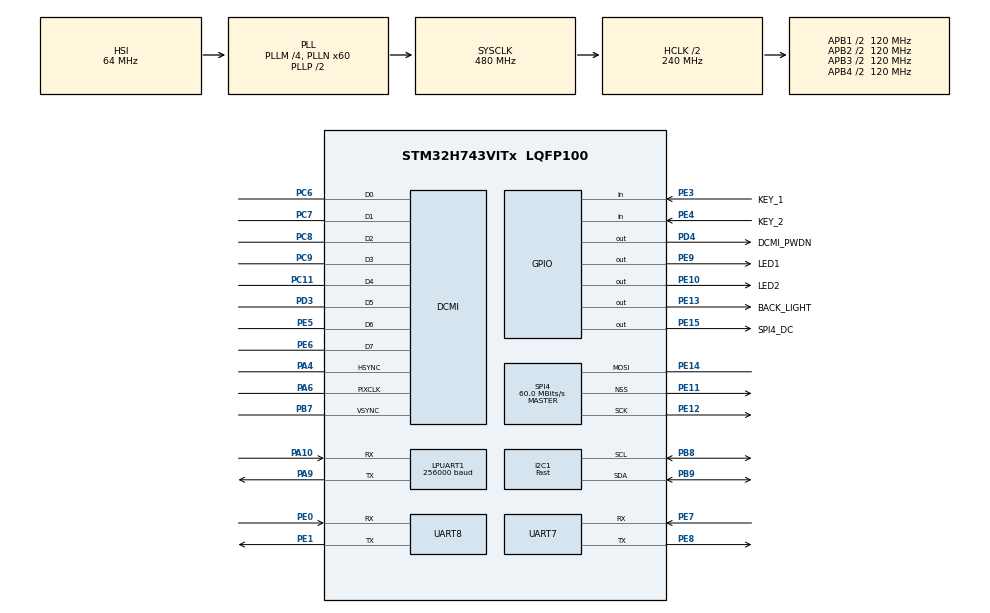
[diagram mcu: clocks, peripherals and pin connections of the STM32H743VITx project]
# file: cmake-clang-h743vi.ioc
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Bdma.LPUART1_RX.0.Direction=DMA_PERIPH_TO_MEMORY
Bdma.LPUART1_RX.0.EventEnable=DISABLE
Bdma.LPUART1_RX.0.Instance=BDMA_Channel0
Bdma.LPUART1_RX.0.MemDataAlignment=DMA_MDATAALIGN_BYTE
Bdma.LPUART1_RX.0.MemInc=DMA_MINC_ENABLE
Bdma.LPUART1_RX.0.Mode=DMA_CIRCULAR
Bdma.LPUART1_RX.0.PeriphDataAlignment=DMA_PDATAALIGN_BYTE
Bdma.LPUART1_RX.0.PeriphInc=DMA_PINC_DISABLE
Bdma.LPUART1_RX.0.Polarity=HAL_DMAMUX_REQ_GEN_RISING
Bdma.LPUART1_RX.0.Priority=DMA_PRIORITY_LOW
Bdma.LPUART1_RX.0.RequestNumber=1
Bdma.LPUART1_RX.0.SignalID=NONE
Bdma.LPUART1_RX.0.SyncEnable=DISABLE
Bdma.LPUART1_RX.0.SyncPolarity=HAL_DMAMUX_SYNC_NO_EVENT
Bdma.LPUART1_RX.0.SyncRequestNumber=1
Bdma.LPUART1_RX.0.SyncSignalID=NONE
Bdma.Request0=LPUART1_RX
Bdma.RequestsNb=1
CORTEX_M7.AccessPermission_S-Cortex_Memory_Protection_Unit_Region1_Settings_S=MPU_REGION_FULL_ACCESS
CORTEX_M7.AccessPermission_S-Cortex_Memory_Protection_Unit_Region2_Settings_S=MPU_REGION_FULL_ACCESS
CORTEX_M7.BaseAddress_S-Cortex_Memory_Protection_Unit_Region1_Settings_S=0x24000000
CORTEX_M7.BaseAddress_S-Cortex_Memory_Protection_Unit_Region2_Settings_S=0x30000000
CORTEX_M7.Enable_S-Cortex_Memory_Protection_Unit_Region1_Settings_S=MPU_REGION_ENABLE
CORTEX_M7.Enable_S-Cortex_Memory_Protection_Unit_Region2_Settings_S=MPU_REGION_ENABLE
CORTEX_M7.IsBufferable_S-Cortex_Memory_Protection_Unit_Region1_Settings_S=MPU_ACCESS_BUFFERABLE
CORTEX_M7.IsBufferable_S-Cortex_Memory_Protection_Unit_Region2_Settings_S=MPU_ACCESS_BUFFERABLE
CORTEX_M7.IsCacheable_S-Cortex_Memory_Protection_Unit_Region1_Settings_S=MPU_ACCESS_CACHEABLE
CORTEX_M7.IsCacheable_S-Cortex_Memory_Protection_Unit_Region2_Settings_S=MPU_ACCESS_CACHEABLE
CORTEX_M7.IsShareable_S-Cortex_Memory_Protection_Unit_Region1_Settings_S=MPU_ACCESS_SHAREABLE
CORTEX_M7.IsShareable_S-Cortex_Memory_Protection_Unit_Region2_Settings_S=MPU_ACCESS_SHAREABLE
CORTEX_M7.Size_S-Cortex_Memory_Protection_Unit_Region1_Settings_S=MPU_REGION_SIZE_512KB
CORTEX_M7.Size_S-Cortex_Memory_Protection_Unit_Region2_Settings_S=MPU_REGION_SIZE_512KB
CORTEX_M7.TypeExtField_S-Cortex_Memory_Protection_Unit_Region1_Settings_S=MPU_TEX_LEVEL1
CORTEX_M7.TypeExtField_S-Cortex_Memory_Protection_Unit_Region2_Settings_S=MPU_TEX_LEVEL1
CORTEX_M7.default_mode_Activation=1
DCMI.JPEGMode=DCMI_JPEG_DISABLE
DCMI.PCKPolarity=DCMI_PCKPOLARITY_RISING
Dma.DCMI.1.Direction=DMA_PERIPH_TO_MEMORY
Dma.DCMI.1.EventEnable=DISABLE
Dma.DCMI.1.FIFOMode=DMA_FIFOMODE_ENABLE
Dma.DCMI.1.FIFOThreshold=DMA_FIFO_THRESHOLD_FULL
Dma.DCMI.1.Instance=DMA2_Stream7
Dma.DCMI.1.MemBurst=DMA_MBURST_SINGLE
Dma.DCMI.1.MemDataAlignment=DMA_MDATAALIGN_WORD
Dma.DCMI.1.MemInc=DMA_MINC_ENABLE
Dma.DCMI.1.Mode=DMA_CIRCULAR
Dma.DCMI.1.PeriphBurst=DMA_PBURST_SINGLE
Dma.DCMI.1.PeriphDataAlignment=DMA_PDATAALIGN_WORD
Dma.DCMI.1.PeriphInc=DMA_PINC_DISABLE
Dma.DCMI.1.Polarity=HAL_DMAMUX_REQ_GEN_RISING
Dma.DCMI.1.Priority=DMA_PRIORITY_LOW
Dma.DCMI.1.RequestNumber=1
Dma.DCMI.1.SignalID=NONE
Dma.DCMI.1.SyncEnable=DISABLE
Dma.DCMI.1.SyncPolarity=HAL_DMAMUX_SYNC_NO_EVENT
Dma.DCMI.1.SyncRequestNumber=1
Dma.DCMI.1.SyncSignalID=NONE
Dma.Request0=SPI4_TX
Dma.Request1=DCMI
Dma.Request2=UART7_RX
Dma.Request3=UART8_RX
Dma.SPI4_TX.0.Direction=DMA_MEMORY_TO_PERIPH
Dma.SPI4_TX.0.EventEnable=DISABLE
Dma.SPI4_TX.0.FIFOMode=DMA_FIFOMODE_DISABLE
Dma.SPI4_TX.0.Instance=DMA1_Stream0
Dma.SPI4_TX.0.MemDataAlignment=DMA_MDATAALIGN_BYTE
Dma.SPI4_TX.0.MemInc=DMA_MINC_ENABLE
Dma.SPI4_TX.0.Mode=DMA_NORMAL
Dma.SPI4_TX.0.PeriphDataAlignment=DMA_PDATAALIGN_BYTE
Dma.SPI4_TX.0.PeriphInc=DMA_PINC_DISABLE
Dma.SPI4_TX.0.Polarity=HAL_DMAMUX_REQ_GEN_RISING
Dma.SPI4_TX.0.Priority=DMA_PRIORITY_LOW
Dma.SPI4_TX.0.RequestNumber=1
Dma.SPI4_TX.0.SignalID=NONE
Dma.SPI4_TX.0.SyncEnable=DISABLE
Dma.SPI4_TX.0.SyncPolarity=HAL_DMAMUX_SYNC_NO_EVENT
Dma.SPI4_TX.0.SyncRequestNumber=1
Dma.SPI4_TX.0.SyncSignalID=NONE
Dma.UART7_RX.2.Direction=DMA_PERIPH_TO_MEMORY
Dma.UART7_RX.2.EventEnable=DISABLE
Dma.UART7_RX.2.FIFOMode=DMA_FIFOMODE_DISABLE
Dma.UART7_RX.2.Instance=DMA1_Stream1
Dma.UART7_RX.2.MemDataAlignment=DMA_MDATAALIGN_BYTE
Dma.UART7_RX.2.MemInc=DMA_MINC_ENABLE
Dma.UART7_RX.2.Mode=DMA_CIRCULAR
Dma.UART7_RX.2.PeriphDataAlignment=DMA_PDATAALIGN_BYTE
Dma.UART7_RX.2.PeriphInc=DMA_PINC_DISABLE
Dma.UART7_RX.2.Polarity=HAL_DMAMUX_REQ_GEN_RISING
Dma.UART7_RX.2.Priority=DMA_PRIORITY_LOW
Dma.UART7_RX.2.RequestNumber=1
Dma.UART7_RX.2.SignalID=NONE
Dma.UART7_RX.2.SyncEnable=DISABLE
Dma.UART7_RX.2.SyncPolarity=HAL_DMAMUX_SYNC_NO_EVENT
Dma.UART7_RX.2.SyncRequestNumber=1
Dma.UART7_RX.2.SyncSignalID=NONE
Dma.UART8_RX.3.Direction=DMA_PERIPH_TO_MEMORY
Dma.UART8_RX.3.EventEnable=DISABLE
Dma.UART8_RX.3.FIFOMode=DMA_FIFOMODE_DISABLE
Dma.UART8_RX.3.Instance=DMA1_Stream2
Dma.UART8_RX.3.MemDataAlignment=DMA_MDATAALIGN_BYTE
Dma.UART8_RX.3.MemInc=DMA_MINC_ENABLE
Dma.UART8_RX.3.Mode=DMA_CIRCULAR
Dma.UART8_RX.3.PeriphDataAlignment=DMA_PDATAALIGN_BYTE
Dma.UART8_RX.3.PeriphInc=DMA_PINC_DISABLE
Dma.UART8_RX.3.Polarity=HAL_DMAMUX_REQ_GEN_RISING
Dma.UART8_RX.3.Priority=DMA_PRIORITY_LOW
Dma.UART8_RX.3.RequestNumber=1
Dma.UART8_RX.3.SignalID=NONE
Dma.UART8_RX.3.SyncEnable=DISABLE
Dma.UART8_RX.3.SyncPolarity=HAL_DMAMUX_SYNC_NO_EVENT
Dma.UART8_RX.3.SyncRequestNumber=1
Dma.UART8_RX.3.SyncSignalID=NONE
FREERTOS.Tasks01=defaultTask,24,512,StartDefaultTask,Default,NULL,Dynamic,NULL,NULL
FREERTOS.configENABLE_FPU=1
FREERTOS.configHEAP_CLEAR_MEMORY_ON_FREE=0
FREERTOS.configTOTAL_HEAP_SIZE=131072
I2C1.I2C_Fall_Time=10
I2C1.I2C_Rise_Time=100
I2C1.I2C_Speed_Mode=I2C_Fast
I2C1.Timing=0x4040171D
LPUART1.BaudRate=256000
Mcu.Family=STM32H7
Mcu.Name=STM32H743VITx
Mcu.Package=LQFP100
NVIC.BDMA_Channel0_IRQn=true\:5\:0\:false\:false\:true\:true\:false\:true\:true
NVIC.DCMI_IRQn=true\:5\:0\:false\:false\:true\:true\:true\:true\:true
NVIC.DMA1_Stream0_IRQn=true\:5\:0\:false\:false\:true\:true\:false\:true\:true
NVIC.DMA1_Stream1_IRQn=true\:5\:0\:false\:false\:true\:true\:false\:true\:true
NVIC.DMA1_Stream2_IRQn=true\:5\:0\:false\:false\:true\:true\:false\:true\:true
NVIC.DMA2_Stream7_IRQn=true\:5\:0\:false\:false\:true\:false\:false\:true\:true
NVIC.LPUART1_IRQn=true\:5\:0\:false\:false\:true\:true\:true\:true\:true
NVIC.PriorityGroup=NVIC_PRIORITYGROUP_4
NVIC.SPI4_IRQn=true\:5\:0\:false\:false\:true\:true\:false\:true\:true
NVIC.TIM17_IRQn=true\:15\:0\:false\:false\:true\:false\:false\:true\:true
NVIC.TimeBase=TIM17_IRQn
NVIC.TimeBaseIP=TIM17
NVIC.UART7_IRQn=true\:5\:0\:false\:false\:true\:true\:true\:true\:true
NVIC.UART8_IRQn=true\:5\:0\:false\:false\:true\:true\:true\:true\:true
PA10.GPIO_PuPd=GPIO_PULLUP
PA10.Mode=Asynchronous
PA10.Signal=LPUART1_RX
PA13\ (JTMS/SWDIO).Mode=Serial_Wire
PA13\ (JTMS/SWDIO).Signal=DEBUG_JTMS-SWDIO
PA14\ (JTCK/SWCLK).Mode=Serial_Wire
PA14\ (JTCK/SWCLK).Signal=DEBUG_JTCK-SWCLK
PA4.GPIO_Speed=GPIO_SPEED_FREQ_VERY_HIGH
PA4.Mode=Slave_8_bits_External_Synchro
PA4.Signal=DCMI_HSYNC
PA6.GPIO_Speed=GPIO_SPEED_FREQ_VERY_HIGH
PA6.Mode=Slave_8_bits_External_Synchro
PA6.Signal=DCMI_PIXCLK
PA9.Mode=Asynchronous
PA9.Signal=LPUART1_TX
PB7.GPIO_Speed=GPIO_SPEED_FREQ_VERY_HIGH
PB7.Mode=Slave_8_bits_External_Synchro
PB7.Signal=DCMI_VSYNC
PB8.Mode=I2C
PB8.Signal=I2C1_SCL
PB9.Mode=I2C
PB9.Signal=I2C1_SDA
PC11.GPIO_Speed=GPIO_SPEED_FREQ_VERY_HIGH
PC11.Mode=Slave_8_bits_External_Synchro
PC11.Signal=DCMI_D4
PC14-OSC32_IN\ (OSC32_IN).Mode=LSE-External-Oscillator
PC14-OSC32_IN\ (OSC32_IN).Signal=RCC_OSC32_IN
PC15-OSC32_OUT\ (OSC32_OUT).Mode=LSE-External-Oscillator
PC15-OSC32_OUT\ (OSC32_OUT).Signal=RCC_OSC32_OUT
PC6.GPIO_Speed=GPIO_SPEED_FREQ_VERY_HIGH
PC6.Mode=Slave_8_bits_External_Synchro
PC6.Signal=DCMI_D0
PC7.GPIO_Speed=GPIO_SPEED_FREQ_VERY_HIGH
PC7.Mode=Slave_8_bits_External_Synchro
PC7.Signal=DCMI_D1
PC8.GPIO_Speed=GPIO_SPEED_FREQ_VERY_HIGH
PC8.Mode=Slave_8_bits_External_Synchro
PC8.Signal=DCMI_D2
PC9.GPIO_Speed=GPIO_SPEED_FREQ_VERY_HIGH
PC9.Mode=Slave_8_bits_External_Synchro
PC9.Signal=DCMI_D3
PD3.GPIO_Speed=GPIO_SPEED_FREQ_VERY_HIGH
PD3.Mode=Slave_8_bits_External_Synchro
PD3.Signal=DCMI_D5
PD4.GPIO_Label=DCMI_PWDN
PD4.Signal=GPIO_Output
PE0.Mode=Asynchronous
PE0.Signal=UART8_RX
PE1.Mode=Asynchronous
PE1.Signal=UART8_TX
PE10.GPIO_Label=LED2
PE10.Signal=GPIO_Output
PE11.GPIO_Speed=GPIO_SPEED_FREQ_MEDIUM
PE11.Mode=NSS_Signal_Hard_Output
PE11.Signal=SPI4_NSS
PE12.GPIO_Speed=GPIO_SPEED_FREQ_MEDIUM
PE12.Mode=Simplex_Bidirectional_Master
PE12.Signal=SPI4_SCK
PE13.GPIO_Label=BACK_LIGHT
PE13.Signal=GPIO_Output
PE14.GPIO_Speed=GPIO_SPEED_FREQ_MEDIUM
PE14.Mode=Simplex_Bidirectional_Master
PE14.Signal=SPI4_MOSI
PE15.GPIO_Label=SPI4_DC
PE15.Signal=GPIO_Output
PE3.GPIO_Label=KEY_1
PE3.GPIO_PuPd=GPIO_PULLUP
PE3.Signal=GPIO_Input
PE4.GPIO_Label=KEY_2
PE4.GPIO_PuPd=GPIO_PULLUP
PE4.Signal=GPIO_Input
PE5.GPIO_Speed=GPIO_SPEED_FREQ_VERY_HIGH
PE5.Mode=Slave_8_bits_External_Synchro
PE5.Signal=DCMI_D6
PE6.GPIO_Speed=GPIO_SPEED_FREQ_VERY_HIGH
PE6.Mode=Slave_8_bits_External_Synchro
PE6.Signal=DCMI_D7
PE7.Mode=Asynchronous
PE7.Signal=UART7_RX
PE8.Mode=Asynchronous
PE8.Signal=UART7_TX
PE9.GPIO_Label=LED1
PE9.Signal=GPIO_Output
PH0-OSC_IN\ (PH0).Mode=HSE-External-Oscillator
PH0-OSC_IN\ (PH0).Signal=RCC_OSC_IN
PH1-OSC_OUT\ (PH1).Mode=HSE-External-Oscillator
PH1-OSC_OUT\ (PH1).Signal=RCC_OSC_OUT
ProjectManager.HeapSize=0x200
ProjectManager.StackSize=0x1000
ProjectManager.TargetToolchain=CMake
RCC.ADCFreq_Value=129000000
RCC.APB1Freq_Value=120000000
RCC.APB2Freq_Value=120000000
RCC.APB3Freq_Value=120000000
RCC.APB4Freq_Value=120000000
RCC.CortexFreq_Value=480000000
RCC.D1PPRE=RCC_APB3_DIV2
RCC.D2PPRE1=RCC_APB1_DIV2
RCC.D2PPRE2=RCC_APB2_DIV2
RCC.D3PPRE=RCC_APB4_DIV2
RCC.DIVM1=4
RCC.DIVN1=60
RCC.HCLKFreq_Value=240000000
RCC.HPRE=RCC_HCLK_DIV2
RCC.PLL2FRACN=0
RCC.PLL3FRACN=0
RCC.PLLFRACN=0
RCC.SYSCLKFreq_VALUE=480000000
RCC.SYSCLKSource=RCC_SYSCLKSOURCE_PLLCLK
RCC.USBFreq_Value=480000000
SPI4.CLKPhase=SPI_PHASE_2EDGE
SPI4.CLKPolarity=SPI_POLARITY_HIGH
SPI4.CalculateBaudRate=60.0 MBits/s
SPI4.DataSize=SPI_DATASIZE_8BIT
SPI4.Direction=SPI_DIRECTION_1LINE
SPI4.Mode=SPI_MODE_MASTER
SPI4.NSSPMode=SPI_NSS_PULSE_DISABLE
SPI4.VirtualNSS=VM_NSSHARD
SPI4.VirtualType=VM_MASTER
VP_FREERTOS_VS_CMSIS_V2.Mode=CMSIS_V2
VP_MEMORYMAP_VS_MEMORYMAP.Mode=CurAppReg
VP_SYS_VS_tim17.Mode=TIM17
board=custom

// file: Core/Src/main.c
/* USER CODE BEGIN Header */
/**
 ******************************************************************************
 * @file           : main.c
 * @brief          : Main program body
 ******************************************************************************
 * @attention
 *
 * Copyright (c) 2026 STMicroelectronics.
 * All rights reserved.
 *
 * This software is licensed under terms that can be found in the LICENSE file
 * in the root directory of this software component.
 * If no LICENSE file comes with this software, it is provided AS-IS.
 *
 ******************************************************************************
 */
/* USER CODE END Header */
#include "main.h"
#include "FreeRTOS.h"
#include "cmsis_os2.h"
#include "bdma.h"
#include "dcmi.h"
#include "dma.h"
#include "i2c.h"
#include "usart.h"
#include "spi.h"
#include "gpio.h"

/* USER CODE BEGIN Includes */
// #define MINIMP3_NO_SIMD
// #define MINIMP3_IMPLEMENTATION
// #include "minimp3.h"
/* USER CODE END Includes */

void SystemClock_Config(void);
static void MPU_Config(void);
void MX_FREERTOS_Init(void);

int main(void)
{

  /* USER CODE BEGIN 1 */
  SCB_EnableICache();
  SCB_EnableDCache();
  /* USER CODE END 1 */

  /* MPU Configuration--------------------------------------------------------*/
  MPU_Config();

  /* MCU Configuration--------------------------------------------------------*/

  /* Reset of all peripherals, Initializes the Flash interface and the Systick. */
  HAL_Init();

  /* USER CODE BEGIN Init */
//  SCB->CPACR |= ((3UL << 10*2) | (3UL << 11*2));  // 使能 CP10 和 CP11 (FPU)
  /* USER CODE END Init */

  /* Configure the system clock */
  SystemClock_Config();

  /* Initialize all configured peripherals */
  MX_GPIO_Init();
  MX_DMA_Init();
  MX_BDMA_Init();
  MX_LPUART1_UART_Init();
  MX_SPI4_Init();
  MX_I2C1_Init();
  MX_DCMI_Init();
  MX_UART7_Init();
  MX_UART8_Init();

  /* Init scheduler */
  osKernelInitialize();  /* Call init function for freertos objects (in cmsis_os2.c) */
  MX_FREERTOS_Init();

  /* Start scheduler */
  osKernelStart();

  /* We should never get here as control is now taken by the scheduler */

  /* Infinite loop */
    while(1)
    {

    }
}

void SystemClock_Config(void)
{
  RCC_OscInitTypeDef RCC_OscInitStruct = {0};
  RCC_ClkInitTypeDef RCC_ClkInitStruct = {0};

  /** Supply configuration update enable
  */
  HAL_PWREx_ConfigSupply(PWR_LDO_SUPPLY);

  /** Configure the main internal regulator output voltage
  */
  __HAL_PWR_VOLTAGESCALING_CONFIG(PWR_REGULATOR_VOLTAGE_SCALE0);

  while(!__HAL_PWR_GET_FLAG(PWR_FLAG_VOSRDY)) {}

  /** Initializes the RCC Oscillators according to the specified parameters
  * in the RCC_OscInitTypeDef structure.
  */
  RCC_OscInitStruct.OscillatorType = RCC_OSCILLATORTYPE_HSI;
  RCC_OscInitStruct.HSIState = RCC_HSI_DIV1;
  RCC_OscInitStruct.HSICalibrationValue = RCC_HSICALIBRATION_DEFAULT;
  RCC_OscInitStruct.PLL.PLLState = RCC_PLL_ON;
  RCC_OscInitStruct.PLL.PLLSource = RCC_PLLSOURCE_HSI;
  RCC_OscInitStruct.PLL.PLLM = 4;
  RCC_OscInitStruct.PLL.PLLN = 60;
  RCC_OscInitStruct.PLL.PLLP = 2;
  RCC_OscInitStruct.PLL.PLLQ = 2;
  RCC_OscInitStruct.PLL.PLLR = 2;
  RCC_OscInitStruct.PLL.PLLRGE = RCC_PLL1VCIRANGE_3;
  RCC_OscInitStruct.PLL.PLLVCOSEL = RCC_PLL1VCOWIDE;
  RCC_OscInitStruct.PLL.PLLFRACN = 0;
  if (HAL_RCC_OscConfig(&RCC_OscInitStruct) != HAL_OK)
  {
    Error_Handler();
  }

  /** Initializes the CPU, AHB and APB buses clocks
  */
  RCC_ClkInitStruct.ClockType = RCC_CLOCKTYPE_HCLK|RCC_CLOCKTYPE_SYSCLK
                              |RCC_CLOCKTYPE_PCLK1|RCC_CLOCKTYPE_PCLK2
                              |RCC_CLOCKTYPE_D3PCLK1|RCC_CLOCKTYPE_D1PCLK1;
  RCC_ClkInitStruct.SYSCLKSource = RCC_SYSCLKSOURCE_PLLCLK;
  RCC_ClkInitStruct.SYSCLKDivider = RCC_SYSCLK_DIV1;
  RCC_ClkInitStruct.AHBCLKDivider = RCC_HCLK_DIV2;
  RCC_ClkInitStruct.APB3CLKDivider = RCC_APB3_DIV2;
  RCC_ClkInitStruct.APB1CLKDivider = RCC_APB1_DIV2;
  RCC_ClkInitStruct.APB2CLKDivider = RCC_APB2_DIV2;
  RCC_ClkInitStruct.APB4CLKDivider = RCC_APB4_DIV2;

  if (HAL_RCC_ClockConfig(&RCC_ClkInitStruct, FLASH_LATENCY_4) != HAL_OK)
  {
    Error_Handler();
  }
}

 /* MPU Configuration */

void MPU_Config(void)
{
  MPU_Region_InitTypeDef MPU_InitStruct = {0};

  /* Disables the MPU */
  HAL_MPU_Disable();

  /** Initializes and configures the Region and the memory to be protected
  */
  MPU_InitStruct.Enable = MPU_REGION_ENABLE;
  MPU_InitStruct.Number = MPU_REGION_NUMBER0;
  MPU_InitStruct.BaseAddress = 0x0;
  MPU_InitStruct.Size = MPU_REGION_SIZE_4GB;
  MPU_InitStruct.SubRegionDisable = 0x87;
  MPU_InitStruct.TypeExtField = MPU_TEX_LEVEL0;
  MPU_InitStruct.AccessPermission = MPU_REGION_NO_ACCESS;
  MPU_InitStruct.DisableExec = MPU_INSTRUCTION_ACCESS_DISABLE;
  MPU_InitStruct.IsShareable = MPU_ACCESS_SHAREABLE;
  MPU_InitStruct.IsCacheable = MPU_ACCESS_NOT_CACHEABLE;
  MPU_InitStruct.IsBufferable = MPU_ACCESS_NOT_BUFFERABLE;

  HAL_MPU_ConfigRegion(&MPU_InitStruct);

  /** Initializes and configures the Region and the memory to be protected
  */
  MPU_InitStruct.Number = MPU_REGION_NUMBER1;
  MPU_InitStruct.BaseAddress = 0x24000000;
  MPU_InitStruct.Size = MPU_REGION_SIZE_512KB;
  MPU_InitStruct.SubRegionDisable = 0x0;
  MPU_InitStruct.TypeExtField = MPU_TEX_LEVEL1;
  MPU_InitStruct.AccessPermission = MPU_REGION_FULL_ACCESS;
  MPU_InitStruct.DisableExec = MPU_INSTRUCTION_ACCESS_ENABLE;
  MPU_InitStruct.IsCacheable = MPU_ACCESS_CACHEABLE;
  MPU_InitStruct.IsBufferable = MPU_ACCESS_BUFFERABLE;

  HAL_MPU_ConfigRegion(&MPU_InitStruct);

  /** Initializes and configures the Region and the memory to be protected
  */
  MPU_InitStruct.Number = MPU_REGION_NUMBER2;
  MPU_InitStruct.BaseAddress = 0x30000000;

  HAL_MPU_ConfigRegion(&MPU_InitStruct);
  /* Enables the MPU */
  HAL_MPU_Enable(MPU_PRIVILEGED_DEFAULT);

}

void HAL_TIM_PeriodElapsedCallback(TIM_HandleTypeDef *htim)
{
  if (htim->Instance == TIM17)
  {
    HAL_IncTick();
  }
}

void Error_Handler(void)
{
  /* USER CODE BEGIN Error_Handler_Debug */
    /* User can add his own implementation to report the HAL error return state
     */
    __disable_irq();
    while(1)
    {
    }
  /* USER CODE END Error_Handler_Debug */
}
#ifdef USE_FULL_ASSERT
/**
  * @brief  Reports the name of the source file and the source line number
  *         where the assert_param error has occurred.
  * @param  file: pointer to the source file name
  * @param  line: assert_param error line source number
  * @retval None
  */
void assert_failed(uint8_t *file, uint32_t line)
{
  /* USER CODE BEGIN 6 */
    /* User can add his own implementation to report the file name and line
       number, ex: printf("Wrong parameters value: file %s on line %d\r\n",
       file, line) */
  /* USER CODE END 6 */
}
#endif /* USE_FULL_ASSERT */

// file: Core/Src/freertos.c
/* USER CODE BEGIN Header */
/**
 ******************************************************************************
 * File Name          : freertos.c
 * Description        : Code for freertos applications
 ******************************************************************************
 * @attention
 *
 * Copyright (c) 2026 STMicroelectronics.
 * All rights reserved.
 *
 * This software is licensed under terms that can be found in the LICENSE file
 * in the root directory of this software component.
 * If no LICENSE file comes with this software, it is provided AS-IS.
 *
 ******************************************************************************
 */
/* USER CODE END Header */

#include "FreeRTOS.h"
#include "task.h"
#include "main.h"
#include "FreeRTOS.h"
#include "cmsis_os2.h"

/* USER CODE BEGIN Includes */
#include <stdint.h>
#include "shell_port.h"
#include "kfifo.h"              /* kfifo lib header file. */
#include "plat_sys.h"           /* platform time source. */
#include "service_osd.h"        /* service_osd header file. */
#include "service_key.h"        /* key gesture service (single/double/long) */
#include "service_uart_test.h"  /* for DMA+IDLE UART smoke test */
#include "service_rs485_test.h" /* UART7 master/UART8 slave test */
#include "plat_log.h"           /* platform log header file. */
#include "app_main_task.h"      /* default application task */
// #define MINIMP3_NO_SIMD
#define MINIMP3_FLOAT_OUTPUT
#define MINIMP3_IMPLEMENTATION
#include "minimp3.h"
#include "log.h"
/* USER CODE END Includes */

/* USER CODE BEGIN Variables */
/* FreeRTOS heap placed in AXI SRAM (512KB) instead of DTCMRAM (128KB) */
__attribute__((section(".ram_dma_buffers"),
               aligned(8))) uint8_t ucHeap[configTOTAL_HEAP_SIZE];
/* USER CODE END Variables */
/* Definitions for defaultTask */
osThreadId_t         defaultTaskHandle;
const osThreadAttr_t defaultTask_attributes = {
    .name       = "defaultTask",
    .stack_size = 512 * 4,
    .priority   = (osPriority_t)osPriorityNormal,
};

/* USER CODE BEGIN FunctionPrototypes */
uint8_t     k_fifo_buffer[16];
kfifo_t     g_kfifo;
static void BatteryTask(void *argument);
static void UartEchoTestTask(void *argument);
static void Rs485TestTask(void *argument);
static void KeyTestTask(void *argument);
/* USER CODE END FunctionPrototypes */

void StartDefaultTask(void *argument);

void MX_FREERTOS_Init(void); /* (MISRA C 2004 rule 8.1) */

void MX_FREERTOS_Init(void)
{
    /* USER CODE BEGIN Init */
    platform_err_t time_init_status = plat_time_init();
    if(PLATFORM_ERR_OK == plat_log_init())
    {
        plat_log_i("SYS", "log init OK (build %s %s)", __DATE__, __TIME__);
        if(PLATFORM_ERR_OK != time_init_status)
        {
            plat_log_e("SYS", "DWT time init failed: %d",
                       (int)time_init_status);
        }
    }
    /* USER CODE END Init */

    /* Create the thread(s) */
    /* creation of defaultTask */
    defaultTaskHandle = osThreadNew(StartDefaultTask, NULL,
                                    &defaultTask_attributes);

    /* USER CODE BEGIN RTOS_THREADS */
    // userShellInit();

    // static const osThreadAttr_t battery_task_attr = {
    //     .name       = "batteryTask",
    //     .stack_size = 512U,
    //     .priority   = (osPriority_t)osPriorityBelowNormal,
    // };
    // osThreadNew(BatteryTask, NULL, &battery_task_attr);

    static const osThreadAttr_t uart_test_task_attr = {
        .name       = "uartTestTask",
        .stack_size = 512 * 4U,
        .priority   = (osPriority_t)osPriorityBelowNormal,
    };
    osThreadNew(UartEchoTestTask, NULL, &uart_test_task_attr);

    // static const osThreadAttr_t rs485_test_task_attr = {
    //     .name       = "rs485TestTask",
    //     .stack_size = 512U * 4U,
    //     .priority   = (osPriority_t)osPriorityBelowNormal,
    // };
    // (void)osThreadNew(Rs485TestTask, NULL, &rs485_test_task_attr);

    // static const osThreadAttr_t key_test_task_attr = {
    //     .name       = "keyTestTask",
    //     .stack_size = 512U * 2U,
    //     .priority   = (osPriority_t)osPriorityNormal,
    // };
    // (void)osThreadNew(KeyTestTask, NULL, &key_test_task_attr);
    /* USER CODE END RTOS_THREADS */

}

void StartDefaultTask(void *argument)
{
    /* USER CODE BEGIN StartDefaultTask */
    app_main_task(argument);
    /* USER CODE END StartDefaultTask */
}

/* USER CODE BEGIN Application */
/**
 * @brief  Simulates battery drain: decreases level by 1% every 2 seconds.
 *         Calls service_osd_set_battery() — no display logic here.
 */
static void BatteryTask(void *argument)
{
    ((void)argument);
    uint8_t bat = 100U;
    for(;;)
    {
        vTaskDelay(pdMS_TO_TICKS(5000U));
        bat = (bat > 0U) ? (bat - 1U) : 100U;
        service_osd_set_battery(bat);
    }
}
static TaskHandle_t s_uart_task_handle;
static TaskHandle_t s_rs485_task_handle;

/* service_uart_test's RTOS wake mechanism: forwards its ISR-context wake
 * request to a task notify. Kept here (not in service_uart_test.c) so that
 * module stays free of RTOS types and is portable to bare metal. */
static void uart_wake_isr(void)
{
    BaseType_t xHigherPriorityTaskWoken = pdFALSE;
    vTaskNotifyGiveFromISR(s_uart_task_handle, &xHigherPriorityTaskWoken);
    portYIELD_FROM_ISR(xHigherPriorityTaskWoken);
}

/* service_rs485_test's RTOS wake mechanism.  No parsing or blocking work is
 * performed from this ISR callback. */
static void rs485_wake_isr(void)
{
    BaseType_t   higher_priority_task_woken = pdFALSE;
    TaskHandle_t task_handle                = s_rs485_task_handle;
    if(NULL != task_handle)
    {
        vTaskNotifyGiveFromISR(task_handle, &higher_priority_task_woken);
        portYIELD_FROM_ISR(higher_priority_task_woken);
    }
}

/* Mirror RS485 service events to the LetterShell COM port.  This callback is
 * called by the service only from Rs485TestTask context; the service itself
 * remains independent of LetterShell and HAL. */
static void rs485_event_log(const service_rs485_test_event_t *p_event)
{
    if(NULL == p_event)
    {
        return;
    }

    const char *endpoint = (SERVICE_RS485_TEST_ENDPOINT_MASTER ==
                            p_event->endpoint)
                               ? "master"
                               : "slave";
    switch(p_event->event)
    {
        case SERVICE_RS485_TEST_EVENT_INIT_OK:
            logInfo("modbus RTU 03/06 init ok");
            break;
        case SERVICE_RS485_TEST_EVENT_INIT_ERROR:
            logError("modbus %s init error status=%u", endpoint,
                     (unsigned int)p_event->status);
            break;
        case SERVICE_RS485_TEST_EVENT_MASTER_WRITE_REQUEST:
            logInfo("modbus master FC06 write reg=0x%04X value=%u",
                    (unsigned int)p_event->register_address,
                    (unsigned int)p_event->value);
            break;
        case SERVICE_RS485_TEST_EVENT_SLAVE_WRITE_APPLIED:
            logInfo("modbus slave FC06 applied reg=0x%04X value=%u",
                    (unsigned int)p_event->register_address,
                    (unsigned int)p_event->value);
            break;
        case SERVICE_RS485_TEST_EVENT_MASTER_WRITE_OK:
            logInfo("modbus master FC06 response ok value=%u",
                    (unsigned int)p_event->value);
            break;
        case SERVICE_RS485_TEST_EVENT_MASTER_READ_REQUEST:
            logInfo("modbus master FC03 read reg=0x%04X expected=%u",
                    (unsigned int)p_event->register_address,
                    (unsigned int)p_event->value);
            break;
        case SERVICE_RS485_TEST_EVENT_SLAVE_READ_REPLY:
            logInfo("modbus slave FC03 reply reg=0x%04X value=%u",
                    (unsigned int)p_event->register_address,
                    (unsigned int)p_event->value);
            break;
        case SERVICE_RS485_TEST_EVENT_SLAVE_EXCEPTION_REPLY:
            logWarning("modbus slave FC%02X exception reply=%u",
                       (unsigned int)p_event->function,
                       (unsigned int)p_event->value);
            break;
        case SERVICE_RS485_TEST_EVENT_MASTER_READ_OK:
            logInfo("modbus master FC03 readback ok value=%u",
                    (unsigned int)p_event->value);
            break;
        case SERVICE_RS485_TEST_EVENT_RESPONSE_TIMEOUT:
            logWarning("modbus FC%02X response timeout",
                       (unsigned int)p_event->function);
            break;
        case SERVICE_RS485_TEST_EVENT_SEND_ERROR:
            logError("modbus %s FC%02X send error status=%u", endpoint,
                     (unsigned int)p_event->function,
                     (unsigned int)p_event->status);
            break;
        case SERVICE_RS485_TEST_EVENT_PROTOCOL_ERROR:
            logWarning("modbus %s FC%02X protocol error status=%u exception=%u",
                       endpoint, (unsigned int)p_event->function,
                       (unsigned int)p_event->status,
                       (unsigned int)p_event->value);
            break;
        case SERVICE_RS485_TEST_EVENT_VALUE_MISMATCH:
            logError("modbus FC03 mismatch expected=%u actual=%u",
                     (unsigned int)p_event->status,
                     (unsigned int)p_event->value);
            break;
        case SERVICE_RS485_TEST_EVENT_FRAME_TIMEOUT:
            logWarning("modbus %s frame timeout", endpoint);
            break;
        case SERVICE_RS485_TEST_EVENT_RX_OVERRUN:
            logWarning("modbus %s RX overrun dropped=%u", endpoint,
                       (unsigned int)p_event->status);
            break;
        default:
            logWarning("rs485 unknown event=%u", (unsigned int)p_event->event);
            break;
    }
}

/**
 * @brief  DMA+IDLE + proto_simple smoke test: parses framed data received
 *         on BSP_UART_PROTO_1 (bound to hlpuart1 for bring-up) and echoes
 *         the decoded payload back.
 */
static void UartEchoTestTask(void *argument)
{
    ((void)argument);
    /* set before service_uart_test_init() registers uart_wake_isr as the RX
     * notify callback, so it's never called with a still-NULL handle. */
    s_uart_task_handle = xTaskGetCurrentTaskHandle();
    (void)service_uart_test_init(uart_wake_isr);
    for(;;)
    {
        /* bounded wait (not portMAX_DELAY): also wakes with no new data so
         * service_uart_test_poll()'s mid-frame idle-timeout watchdog runs
         * even if the sender stalls and no further RX notify ever comes. */
        ulTaskNotifyTake(pdTRUE,
                         pdMS_TO_TICKS(SERVICE_UART_TEST_IDLE_TIMEOUT_MS));
        service_uart_test_poll();
    }
}

/**
 * @brief Periodically drives the UART7 master/UART8 slave RS485 test.
 * @param argument Unused.
 */
static void Rs485TestTask(void *argument)
{
    ((void)argument);
    s_rs485_task_handle   = xTaskGetCurrentTaskHandle();
    platform_err_t status = service_rs485_test_init(rs485_wake_isr,
                                                    rs485_event_log);
    if(PLATFORM_ERR_OK != status)
    {
        logError("service_rs485_test_init failed: %u", (unsigned int)status);
        vTaskDelete(NULL);
        return;
    }

    for(;;)
    {
        (void)ulTaskNotifyTake(pdTRUE, pdMS_TO_TICKS(
                                           SERVICE_RS485_TEST_POLL_PERIOD_MS));
        service_rs485_test_poll();
    }
}
/**
 * @brief  Forward a detected key gesture to the main application task and log
 *         it for observation. Runs in KeyTestTask context.
 */
static void key_event_log(uint8_t key_id, service_key_event_t event)
{
    app_main_post_status_t status = app_main_post_key_event(key_id, event);
    if(APP_MAIN_POST_OK != status)
    {
        logError("key%u event dropped: %u", key_id, (unsigned int)status);
        return;
    }

    switch(event)
    {
        case SERVICE_KEY_EVENT_CLICK:
            logInfo("key%u click", key_id);
            break;
        case SERVICE_KEY_EVENT_DOUBLE_CLICK:
            logInfo("key%u double-click", key_id);
            break;
        case SERVICE_KEY_EVENT_LONG_PRESS:
            logInfo("key%u long-press", key_id);
            break;
        default:
            break;
    }
}

/**
 * @brief  Non-blocking key gesture test: polls the key service every
 *         SERVICE_KEY_POLL_PERIOD_MS and logs click / double-click /
 * long-press. No blocking waits inside the key service itself.
 */
static void KeyTestTask(void *argument)
{
    ((void)argument);
    platform_err_t error = service_key_init(key_event_log);
    if(PLATFORM_ERR_OK != error)
    {
        logError("service_key_init failed: %u", (unsigned int)error);
        vTaskDelete(NULL);
        return;
    }

    for(;;)
    {
        error = service_key_poll();
        if(PLATFORM_ERR_OK != error)
        {
            logError("service_key_poll failed: %u", (unsigned int)error);
            vTaskDelete(NULL);
            return;
        }
        vTaskDelay(pdMS_TO_TICKS(SERVICE_KEY_POLL_PERIOD_MS));
    }
}

/* USER CODE END Application */
